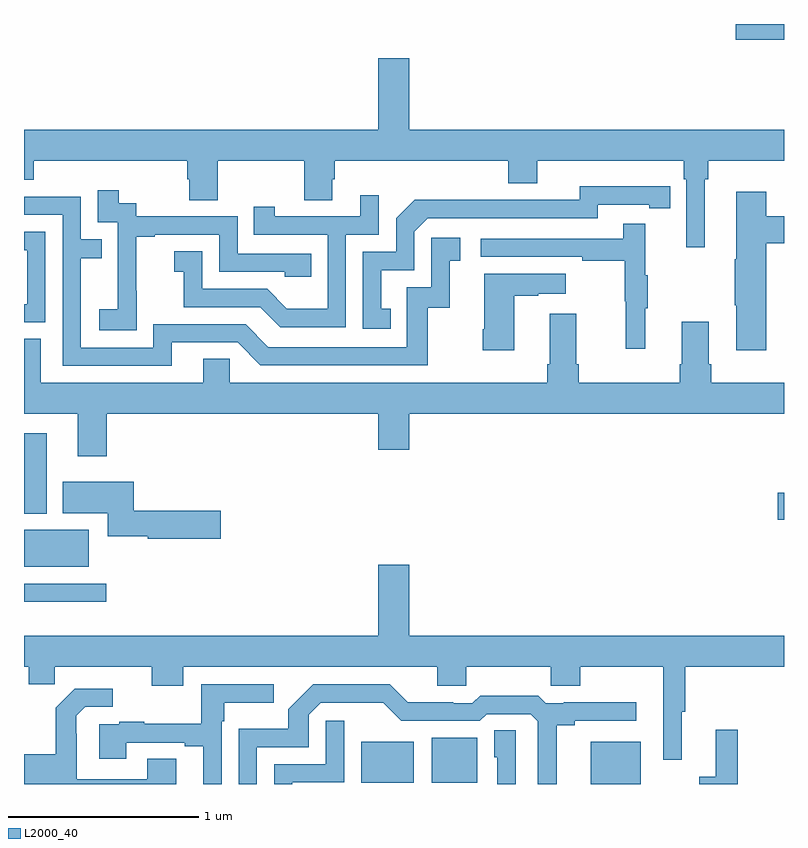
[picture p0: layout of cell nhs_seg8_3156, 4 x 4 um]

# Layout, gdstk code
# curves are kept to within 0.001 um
import gdstk
lib = gdstk.Library(unit=1e-6, precision=1e-09)
def R(c, l, rs):  # rectangles x0, y0, x1, y1
    for r in rs: c.add(gdstk.rectangle(r[:2], r[2:], *l))
def P(c, l, *ps):  # polygons
    for p in ps: c.add(gdstk.Polygon(p, *l))
L2000_40 = (2000, 40)

nhs_seg8_3156 = lib.new_cell('nhs_seg8_3156')
R(nhs_seg8_3156, L2000_40, [(309.983,1099.9,310.246,1100.122), (308.774,1099.907,309.052,1100.122), (309.146,1099.907,309.385,1100.143), (307,1100.858,307.432,1100.955), (310.968,1101.29,311,1101.432), (307,1101.323,307.12,1101.745), (310.746,1103.818,311,1103.9)])
P(nhs_seg8_3156, L2000_40, [(310.582,1103.084),(310.601,1103.084),(310.601,1103.18),(311,1103.18),(311,1103.344),(309.028,1103.344),(309.028,1103.719),(308.864,1103.719),(308.864,1103.344),(307,1103.344),(307,1103.081),(307.052,1103.081),(307.052,1103.18),(307.859,1103.18),(307.859,1103.082),(307.871,1103.082),(307.871,1102.972),(308.019,1102.972),(308.019,1103.18),(308.476,1103.18),(308.476,1102.972),(308.623,1102.972),(308.623,1103.082),(308.636,1103.082),(308.636,1103.18),(309.548,1103.18),(309.548,1103.063),(309.7,1103.063),(309.7,1103.18),(310.472,1103.18),(310.472,1103.084),(310.485,1103.084),(310.485,1102.725),(310.582,1102.725)],
  [(308.93,1102.401),(308.881,1102.401),(308.881,1102.605),(309.054,1102.605),(309.054,1102.806),(309.126,1102.878),(310.02,1102.878),(310.02,1102.95),(310.292,1102.95),(310.292,1102.93),(310.4,1102.93),(310.4,1103.046),(309.924,1103.047),(309.924,1102.974),(309.464,1102.974),(309.464,1102.976),(309.056,1102.976),(308.958,1102.878),(308.958,1102.701),(308.784,1102.701),(308.784,1102.296),(308.93,1102.296)],
  [(307.593,1102.495),(307.592,1102.495),(307.592,1102.779),(307.687,1102.779),(307.687,1102.791),(308.028,1102.791),(308.028,1102.596),(308.373,1102.596),(308.373,1102.569),(308.513,1102.569),(308.513,1102.692),(308.124,1102.692),(308.124,1102.887),(307.59,1102.887),(307.59,1102.956),(307.498,1102.956),(307.498,1103.026),(307.389,1103.026),(307.389,1102.857),(307.494,1102.857),(307.494,1102.628),(307.493,1102.628),(307.493,1102.399),(307.395,1102.399),(307.395,1102.289),(307.593,1102.289)],
  [(310.907,1102.745),(311,1102.745),(311,1102.887),(310.907,1102.887),(310.907,1103.017),(310.748,1103.017),(310.748,1102.661),(310.741,1102.661),(310.741,1102.42),(310.748,1102.42),(310.748,1102.182),(310.907,1102.182)],
  [(308.694,1102.791),(308.868,1102.791),(308.868,1102.999),(308.771,1102.999),(308.771,1102.887),(308.32,1102.887),(308.32,1102.939),(308.209,1102.939),(308.209,1102.791),(308.598,1102.791),(308.598,1102.402),(308.384,1102.402),(308.28,1102.506),(307.938,1102.506),(307.938,1102.705),(307.791,1102.705),(307.791,1102.595),(307.84,1102.595),(307.84,1102.41),(308.243,1102.41),(308.348,1102.305),(308.694,1102.305)],
  [(307.777,1102.224),(308.124,1102.224),(308.244,1102.104),(309.124,1102.104),(309.124,1102.407),(309.242,1102.407),(309.242,1102.653),(309.295,1102.653),(309.295,1102.774),(309.144,1102.774),(309.144,1102.515),(309.015,1102.515),(309.015,1102.2),(308.286,1102.2),(308.166,1102.32),(307.68,1102.32),(307.68,1102.197),(307.299,1102.197),(307.299,1102.666),(307.409,1102.666),(307.409,1102.767),(307.299,1102.767),(307.299,1102.992),(307,1102.992),(307,1102.896),(307.203,1102.896),(307.203,1102.101),(307.777,1102.101)],
  [(310.271,1102.403),(310.282,1102.403),(310.282,1102.577),(310.271,1102.577),(310.271,1102.849),(310.153,1102.849),(310.153,1102.77),(309.405,1102.77),(309.405,1102.674),(309.937,1102.674),(309.937,1102.654),(310.161,1102.654),(310.161,1102.44),(310.168,1102.44),(310.168,1102.191),(310.271,1102.191)],
  [(307.113,1102.806),(307,1102.806),(307,1102.71),(307.017,1102.71),(307.017,1102.425),(307,1102.425),(307,1102.329),(307.113,1102.329)],
  [(309.58,1102.471),(309.707,1102.471),(309.707,1102.481),(309.85,1102.481),(309.85,1102.585),(309.422,1102.585),(309.422,1102.294),(309.415,1102.294),(309.415,1102.182),(309.58,1102.182)],
  [(307.436,1101.848),(308.864,1101.848),(308.864,1101.66),(309.028,1101.66),(309.028,1101.848),(311,1101.848),(311,1102.012),(310.616,1102.012),(310.616,1102.108),(310.603,1102.108),(310.603,1102.333),(310.463,1102.333),(310.463,1102.108),(310.451,1102.108),(310.451,1102.012),(309.92,1102.012),(309.92,1102.108),(309.907,1102.108),(309.907,1102.375),(309.767,1102.375),(309.767,1102.108),(309.755,1102.108),(309.755,1102.012),(308.082,1102.012),(308.082,1102.139),(307.943,1102.139),(307.943,1102.012),(307.087,1102.012),(307.087,1102.244),(307,1102.244),(307,1101.848),(307.283,1101.848),(307.283,1101.624),(307.436,1101.624)],
  [(308.035,1101.338),(307.577,1101.338),(307.577,1101.49),(307.205,1101.49),(307.205,1101.326),(307.442,1101.326),(307.442,1101.203),(307.65,1101.203),(307.65,1101.191),(308.035,1101.191)],
  [(307.342,1101.238),(307.116,1101.238),(307.116,1101.237),(307,1101.237),(307,1101.044),(307.342,1101.044)],
  [(309.028,1101.055),(308.864,1101.055),(308.864,1100.68),(307,1100.68),(307,1100.516),(307.025,1100.516),(307.025,1100.426),(307.163,1100.426),(307.163,1100.516),(307.673,1100.516),(307.673,1100.417),(307.837,1100.417),(307.837,1100.516),(309.176,1100.516),(309.176,1100.418),(309.327,1100.418),(309.327,1100.516),(309.772,1100.516),(309.772,1100.418),(309.927,1100.418),(309.927,1100.516),(310.364,1100.516),(310.364,1100.028),(310.463,1100.028),(310.463,1100.28),(310.481,1100.28),(310.481,1100.516),(311,1100.516),(311,1100.68),(309.028,1100.68)],
  [(308.04,1100.231),(308.053,1100.231),(308.053,1100.327),(308.314,1100.327),(308.314,1100.424),(307.932,1100.424),(307.932,1100.216),(307.633,1100.216),(307.633,1100.227),(307.501,1100.227),(307.501,1100.214),(307.397,1100.214),(307.397,1100.034),(307.537,1100.034),(307.537,1100.118),(307.847,1100.118),(307.847,1100.1),(307.943,1100.1),(307.943,1099.9),(308.04,1099.9)],
  [(308.226,1100.094),(308.499,1100.094),(308.499,1100.265),(308.562,1100.328),(308.891,1100.327),(308.985,1100.232),(309.399,1100.232),(309.435,1100.268),(309.666,1100.268),(309.705,1100.229),(309.705,1099.9),(309.803,1099.9),(309.803,1100.21),(309.898,1100.21),(309.898,1100.232),(310.222,1100.232),(310.222,1100.33),(309.841,1100.33),(309.841,1100.325),(309.747,1100.325),(309.707,1100.365),(309.4,1100.365),(309.36,1100.325),(309.26,1100.325),(309.26,1100.33),(309.02,1100.33),(308.925,1100.424),(308.522,1100.424),(308.392,1100.294),(308.392,1100.191),(308.13,1100.191),(308.13,1099.9),(308.226,1099.9)],
  [(307.801,1100.033),(307.649,1100.033),(307.649,1099.924),(307.278,1099.924),(307.278,1100.165),(307.276,1100.165),(307.276,1100.26),(307.323,1100.307),(307.468,1100.307),(307.468,1100.401),(307.267,1100.401),(307.167,1100.301),(307.167,1100.056),(307,1100.056),(307,1099.9),(307.801,1099.9)],
  [(308.412,1099.908),(308.685,1099.908),(308.685,1100.233),(308.589,1100.233),(308.589,1100.004),(308.316,1100.004),(308.316,1099.9),(308.412,1099.9)],
  [(310.757,1100.185),(310.64,1100.185),(310.64,1099.937),(310.554,1099.937),(310.554,1099.9),(310.757,1099.9)],
  [(309.588,1100.183),(309.476,1100.183),(309.476,1100.04),(309.492,1100.04),(309.492,1099.9),(309.588,1099.9)])

lib.write_gds('nhs_seg8_3156.gds')
